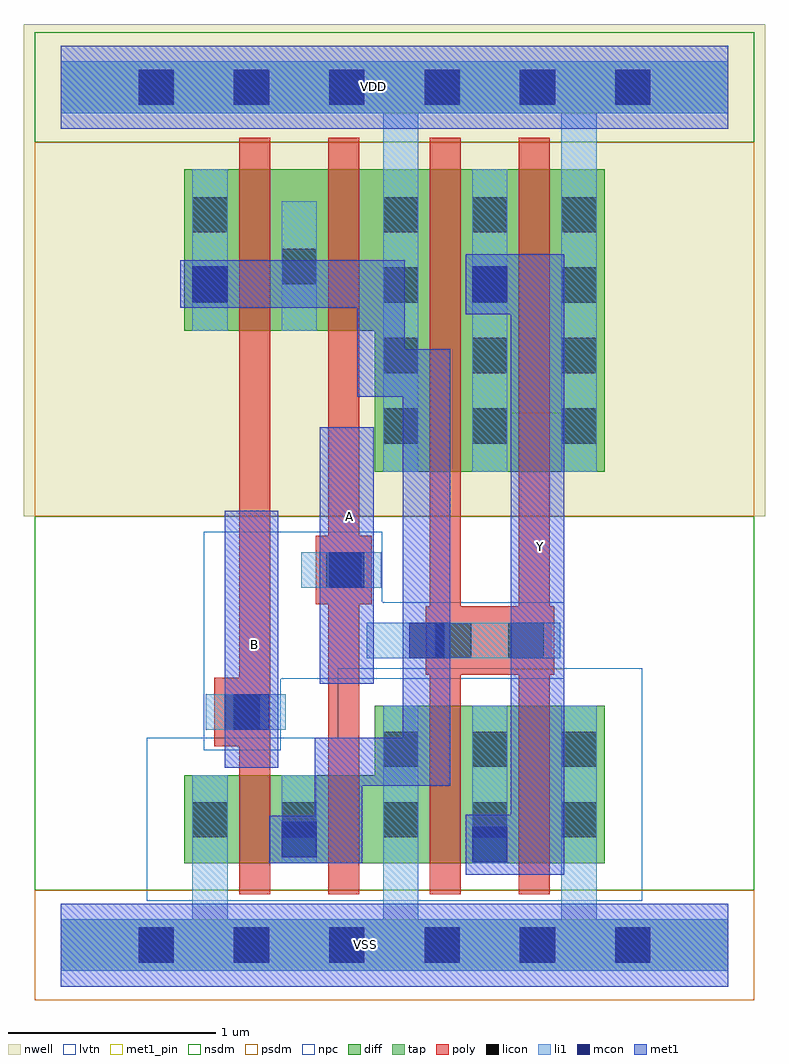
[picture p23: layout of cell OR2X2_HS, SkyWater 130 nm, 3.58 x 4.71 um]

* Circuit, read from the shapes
.subckt OR2X2_HS A B VDD VSS Y
XM1 n1 B VSS VSS sky130_fd_pr__nfet_01v8_lvt w=0.425 l=0.15
XM2 VSS A n1 VSS sky130_fd_pr__nfet_01v8_lvt w=0.425 l=0.15
XM3 Y n1 VSS VSS sky130_fd_pr__nfet_01v8_lvt w=0.76 l=0.15 m=2
XM4 n2 B n1 VDD sky130_fd_pr__pfet_01v8 w=0.78 l=0.15
XM5 VDD A n2 VDD sky130_fd_pr__pfet_01v8 w=0.78 l=0.15
XM6 Y n1 VDD VDD sky130_fd_pr__pfet_01v8 w=1.46 l=0.15 m=2
.ends

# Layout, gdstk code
import gdstk
lib = gdstk.Library(unit=1e-6, precision=1e-09)
def R(c, l, rs):  # rectangles x0, y0, x1, y1
    for r in rs: c.add(gdstk.rectangle(r[:2], r[2:], *l))
def A(c, l, x, y, w, h, nx, ny, dx, dy):  # array of equal rectangles
    R(c, l, [(x+i*dx, y+j*dy, x+i*dx+w, y+j*dy+h) for i in range(nx) for j in range(ny)])
def P(c, l, *ps):  # polygons
    for p in ps: c.add(gdstk.Polygon(p, *l))
nwell = (64, 20)
diff = (65, 20)
tap = (65, 44)
poly = (66, 20)
licon = (66, 44)
li1 = (67, 20)
mcon = (67, 44)
met1_pin = (68, 16)
met1 = (68, 20)
nsdm = (93, 44)
psdm = (94, 20)
npc = (95, 20)
lvtn = (125, 44)

l1m1_c_cdns_758729172861 = lib.new_cell('L1M1_C_CDNS_758729172861')
R(l1m1_c_cdns_758729172861, li1, [(-0.085,-0.165,0.085,0.165)])
R(l1m1_c_cdns_758729172861, mcon, [(-0.085,-0.085,0.085,0.085)])
R(l1m1_c_cdns_758729172861, met1, [(-0.115,-0.145,0.115,0.145)])

l1m1_c_cdns_758729172862 = lib.new_cell('L1M1_C_CDNS_7587291728625')
R(l1m1_c_cdns_758729172862, li1, [(-0.085,-0.085,0.085,0.165)])
R(l1m1_c_cdns_758729172862, mcon, [(-0.085,-0.085,0.085,0.085)])
R(l1m1_c_cdns_758729172862, met1, [(-0.145,-0.115,0.145,0.115)])

pyl1con_c_cdns_758729172 = lib.new_cell('PYL1CON_C_CDNS_758729172862')
R(pyl1con_c_cdns_758729172, poly, [(-0.135,-0.165,0.135,0.165)])
R(pyl1con_c_cdns_758729172, licon, [(-0.085,-0.085,0.085,0.085)])
R(pyl1con_c_cdns_758729172, npc, [(-0.185,-0.185,0.185,0.185)])

l1m1_c_cdns_758729172860 = lib.new_cell('L1M1_C_CDNS_758729172860')
R(l1m1_c_cdns_758729172860, li1, [(-0.165,-0.085,0.165,0.085)])
R(l1m1_c_cdns_758729172860, mcon, [(-0.085,-0.085,0.085,0.085)])
R(l1m1_c_cdns_758729172860, met1, [(-0.115,-0.145,0.115,0.145)])

l1m1_c_cdns_758729172863 = lib.new_cell('L1M1_C_CDNS_758729172863')
R(l1m1_c_cdns_758729172863, li1, [(-0.085,-0.165,0.085,0.165)])
R(l1m1_c_cdns_758729172863, mcon, [(-0.085,-0.085,0.085,0.085)])
R(l1m1_c_cdns_758729172863, met1, [(-0.145,-0.115,0.145,0.115)])

l1m1_c_cdns_758729172867 = lib.new_cell('L1M1_C_CDNS_758729172867')
R(l1m1_c_cdns_758729172867, li1, [(-0.085,-0.085,0.085,0.165)])
R(l1m1_c_cdns_758729172867, mcon, [(-0.085,-0.085,0.085,0.085)])
R(l1m1_c_cdns_758729172867, met1, [(-0.115,-0.145,0.115,0.145)])

or2x2_hs = lib.new_cell('OR2X2_HS')
R(or2x2_hs, nwell, [(-0.18,2.07,3.4,4.445)])
P(or2x2_hs, diff, [(2.625,3.745),(0.595,3.745),(0.595,2.965),(1.515,2.965),(1.515,2.285),(2.625,2.285)],
  [(2.625,1.155),(1.515,1.155),(1.515,0.82),(0.595,0.82),(0.595,0.395),(2.625,0.395)])
R(or2x2_hs, poly, [(0.86,0.245,1.01,3.895), (1.29,0.245,1.44,3.895)])
P(or2x2_hs, poly, [(2.38,1.635),(2.36,1.635),(2.36,3.895),(2.21,3.895),(2.21,1.635),(1.93,1.635),(1.93,3.895),(1.78,3.895),(1.78,1.635),(1.76,1.635),(1.76,1.305),(1.78,1.305),(1.78,0.245),(1.93,0.245),(1.93,1.305),(2.21,1.305),(2.21,0.245),(2.36,0.245),(2.36,1.305),(2.38,1.305)])
A(or2x2_hs, licon, 0.375, -0.085, 0.17, 0.17, 6, 2, 0.46, 4.14)
A(or2x2_hs, licon, 1.555, 0.52, 0.17, 0.17, 3, 2, 0.43, 0.34)
A(or2x2_hs, licon, 1.555, 2.42, 0.17, 0.17, 3, 4, 0.43, 0.34)
R(or2x2_hs, licon, [(0.635,0.52,0.805,0.69), (1.065,0.52,1.235,0.69), (0.635,3.1,0.805,3.27), (1.065,3.19,1.235,3.36), (0.635,3.44,0.805,3.61)])
R(or2x2_hs, li1, [(1.065,0.395,1.235,0.82), (1.985,0.395,2.155,1.155), (1.985,2.285,2.155,3.745), (0.635,2.965,0.805,3.745), (1.065,2.965,1.235,3.59)])
P(or2x2_hs, li1, [(3.22,4.265),(0,4.265),(0,4.015),(1.555,4.015),(1.555,2.285),(1.725,2.285),(1.725,4.015),(2.415,4.015),(2.415,2.285),(2.585,2.285),(2.585,4.015),(3.22,4.015)],
  [(3.22,0.125),(2.585,0.125),(2.585,1.155),(2.415,1.155),(2.415,0.125),(1.725,0.125),(1.725,1.155),(1.555,1.155),(1.555,0.125),(0.805,0.125),(0.805,0.82),(0.635,0.82),(0.635,0.125),(0,0.125),(0,-0.125),(3.22,-0.125)])
A(or2x2_hs, mcon, 0.375, -0.085, 0.17, 0.17, 6, 2, 0.46, 4.14)
R(or2x2_hs, met1_pin, [(0.79,0.855,1.05,2.095), (1.25,1.26,1.51,2.5), (2.17,1.33,2.43,2.57)])
R(or2x2_hs, nsdm, [(-0.125,0.265,3.345,2.07), (-0.125,3.875,3.345,4.405)])
R(or2x2_hs, psdm, [(-0.125,-0.265,3.345,0.265), (-0.125,2.07,3.345,3.875)])
P(or2x2_hs, npc, [(2.43,1.655),(1.55,1.655),(1.55,1.995),(0.69,1.995),(0.69,0.945),(1.06,0.945),(1.06,1.285),(2.43,1.285)])
P(or2x2_hs, lvtn, [(2.805,1.335),(1.335,1.335),(1.335,1),(0.415,1),(0.415,0.215),(2.805,0.215)])
or2x2_hs.add(gdstk.FlexPath([(0.7,1.125),(1.06,1.125)], 0.17, ends="flush", simple_path=True, layer=67, datatype=20))  # li1
or2x2_hs.add(gdstk.FlexPath([(1.475,1.47),(2.41,1.47)], 0.17, ends="flush", simple_path=True, layer=67, datatype=20))  # li1
or2x2_hs.add(gdstk.FlexPath([(1.16,1.81),(1.53,1.81)], 0.17, ends="flush", simple_path=True, layer=67, datatype=20))  # li1
or2x2_hs.add(gdstk.FlexPath([(0,4.14),(3.22,4.14)], 0.25, ends="flush", simple_path=True, layer=65, datatype=44))  # tap
or2x2_hs.add(gdstk.FlexPath([(0,0),(3.22,0)], 0.25, ends="flush", simple_path=True, layer=65, datatype=44))  # tap
or2x2_hs.add(gdstk.FlexPath([(0,4.14),(3.22,4.14)], 0.4, ends="flush", simple_path=True, layer=68, datatype=20))  # met1
or2x2_hs.add(gdstk.FlexPath([(0,0),(3.22,0)], 0.4, ends="flush", simple_path=True, layer=68, datatype=20))  # met1
or2x2_hs.add(gdstk.FlexPath([(0.735,3.19),(1.545,3.19),(1.545,2.76),(1.765,2.76),(1.765,0.885),(1.34,0.885),(1.34,0.395)], 0.23, ends="flush", simple_path=True, layer=68, datatype=20))  # met1
or2x2_hs.add(gdstk.FlexPath([(0.92,0.855),(0.92,2.095)], 0.26, ends="flush", simple_path=True, layer=68, datatype=20))  # met1
or2x2_hs.add(gdstk.FlexPath([(1.38,1.26),(1.38,2.5)], 0.26, ends="flush", simple_path=True, layer=68, datatype=20))  # met1
or2x2_hs.add(gdstk.FlexPath([(2.3,0.34),(2.3,3.335)], 0.26, ends="flush", simple_path=True, layer=68, datatype=20))  # met1
or2x2_hs.add(gdstk.FlexPath([(0,4.14),(3.22,4.14)], 0.4, ends="flush", simple_path=True, layer=68, datatype=16))  # met1_pin
or2x2_hs.add(gdstk.FlexPath([(0,0),(3.22,0)], 0.4, ends="flush", simple_path=True, layer=68, datatype=16))  # met1_pin
or2x2_hs.add(gdstk.Reference(l1m1_c_cdns_758729172861, (2.07,3.19)))
or2x2_hs.add(gdstk.Reference(l1m1_c_cdns_758729172862, (1.15,0.51)))
or2x2_hs.add(gdstk.Reference(pyl1con_c_cdns_758729172, (1.895,1.47)))
or2x2_hs.add(gdstk.Reference(pyl1con_c_cdns_758729172, (1.365,1.81)))
or2x2_hs.add(gdstk.Reference(pyl1con_c_cdns_758729172, (2.245,1.47)))
or2x2_hs.add(gdstk.Reference(pyl1con_c_cdns_758729172, (0.875,1.125)))
or2x2_hs.add(gdstk.Reference(l1m1_c_cdns_758729172860, (1.38,1.81), x_reflection=True))
or2x2_hs.add(gdstk.Reference(l1m1_c_cdns_758729172860, (0.92,1.125), x_reflection=True))
or2x2_hs.add(gdstk.Reference(l1m1_c_cdns_758729172860, (1.765,1.47)))
or2x2_hs.add(gdstk.Reference(l1m1_c_cdns_758729172863, (0.72,3.19)))
or2x2_hs.add(gdstk.Reference(l1m1_c_cdns_758729172867, (2.07,0.485)))
or2x2_hs.add(gdstk.Label('VDD', (1.51,4.145), layer=68, texttype=5))
or2x2_hs.add(gdstk.Label('A', (1.395,2.07), layer=68, texttype=5))
or2x2_hs.add(gdstk.Label('B', (0.935,1.45), layer=68, texttype=5))
or2x2_hs.add(gdstk.Label('Y', (2.315,1.925), layer=68, texttype=5))
or2x2_hs.add(gdstk.Label('VSS', (1.47,0.005), layer=68, texttype=5))

lib.write_gds('OR2X2_HS.gds')
